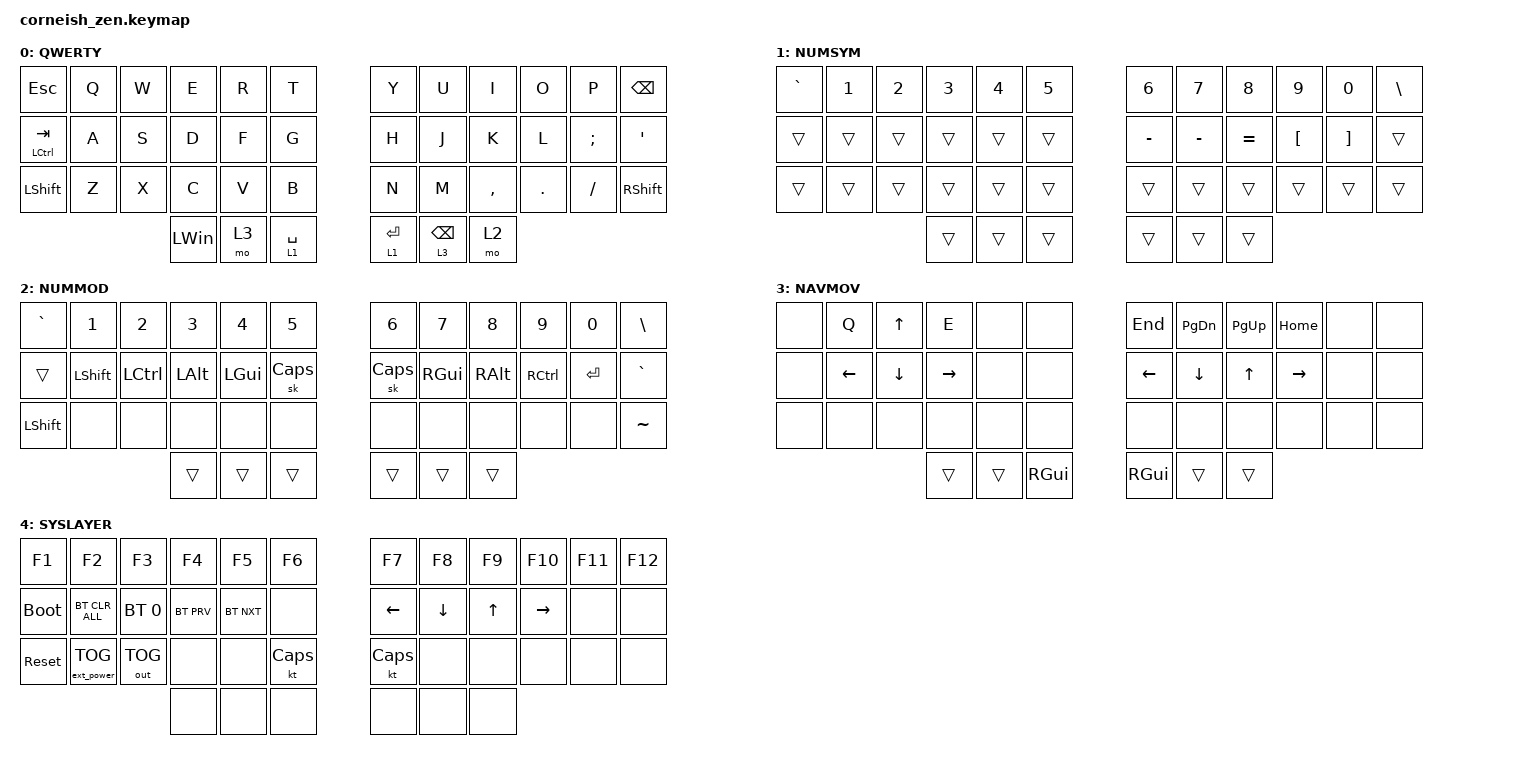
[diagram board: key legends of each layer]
#include <behaviors.dtsi>
#include <dt-bindings/zmk/bt.h>
#include <dt-bindings/zmk/ext_power.h>
#include <dt-bindings/zmk/keys.h>
#include <dt-bindings/zmk/keys.h>
#include <dt-bindings/zmk/outputs.h>

/ {
    chosen {
        zmk,matrix_transform = &default_transform;

        //zmk,matrix_transform = &five_column_transform;
    };
};

/ {
    combos {
        compatible = "zmk,combos";

        ToSyslayer {
            bindings = <&mo 4>;
            key-positions = <38 39>;
        };

        arcsearch {
            bindings = <&arcsearch>;
            key-positions = <37 38>;
        };
    };

    macros {
        arcsearch: arcsearch {
            compatible = "zmk,behavior-macro";
            #binding-cells = <0>;
            bindings = <&kp LEFT_COMMAND &kp LEFT_ALT &kp N>;
            label = "ARCSEARCH";
        };
    };

    keymap {
        compatible = "zmk,keymap";

        default_layer {
            label = "QWERTY";

            // -----------------------------------------------------------------------------------------
            // |  TAB |  Q  |  W  |  E  |  R  |  T  |   |  Y  |  U   |  I  |  O  |  P  | BKSP |
            // | CTRL |  A  |  S  |  D  |  F  |  G  |   |  H  |  J   |  K  |  L  |  ;  |  '   |
            // | SHFT |  Z  |  X  |  C  |  V  |  B  |   |  N  |  M   |  ,  |  .  |  /  | ESC  |
            //                    | GUI | LWR | SPC |   | ENT | RSE  | ALT |

            bindings = <
&kp ESCAPE     &kp Q  &kp W  &kp E         &kp R  &kp T          &kp Y        &kp U            &kp I      &kp O    &kp P     &kp BACKSPACE
&mt LCTRL TAB  &kp A  &kp S  &kp D         &kp F  &kp G          &kp H        &kp J            &kp K      &kp L    &kp SEMI  &kp SQT
&kp LSHFT      &kp Z  &kp X  &kp C         &kp V  &kp B          &kp N        &kp M            &kp COMMA  &kp DOT  &kp FSLH  &kp RIGHT_SHIFT
                             &kp LEFT_WIN  &mo 3  &lt 1 SPACE    &lt 1 ENTER  &lt 3 BACKSPACE  &mo 2
            >;
        };

        lower_layer {
            label = "NUMSYM";

            // -----------------------------------------------------------------------------------------
            // |  TAB |  1  |  2  |  3  |  4  |  5  |   |  6  |  7  |  8  |  9  |  0  | BKSP |
            // | BTCLR| BT1 | BT2 | BT3 | BT4 | BT5 |   | LFT | DWN |  UP | RGT |     |      |
            // | SHFT |     |     |     |     |     |   |     |     |     |     |     |      |
            //                    | GUI |     | SPC |   | ENT |     | ALT |

            bindings = <
&kp GRAVE  &kp N1  &kp N2  &kp N3  &kp N4  &kp N5    &kp N6     &kp N7     &kp N8     &kp N9            &kp N0             &kp BACKSLASH
&trans     &trans  &trans  &trans  &trans  &trans    &kp MINUS  &kp MINUS  &kp EQUAL  &kp LEFT_BRACKET  &kp RIGHT_BRACKET  &trans
&trans     &trans  &trans  &trans  &trans  &trans    &trans     &trans     &trans     &trans            &trans             &trans
                           &trans  &trans  &trans    &trans     &trans     &trans
            >;
        };

        raise_layer {
            label = "NUMMOD";

            // -----------------------------------------------------------------------------------------
            // |  TAB |  !  |  @  |  #  |  $  |  %  |   |  ^  |  &  |  *  |  (  |  )  | BKSP |
            // | CTRL |     |     |     |     |     |   |  -  |  =  |  [  |  ]  |  \  |  `   |
            // | SHFT |     |     |     |     |     |   |  _  |  +  |  {  |  }  | "|" |  ~   |
            //                    | GUI |     | SPC |   | ENT |     | ALT |

            bindings = <
&kp GRAVE  &kp N1     &kp N2     &kp N3    &kp N4    &kp N5      &kp N6    &kp N7    &kp N8    &kp N9     &kp N0   &kp BSLH
&trans     &kp LSHFT  &kp LCTRL  &kp LALT  &kp LGUI  &sk CLCK    &sk CLCK  &kp RGUI  &kp RALT  &kp RCTRL  &kp RET  &kp GRAVE
&kp LSHFT  &none      &none      &none     &none     &none       &none     &none     &none     &none      &none    &kp TILDE
                                 &trans    &trans    &trans      &trans    &trans    &trans
            >;
        };

        layer_3 {
            bindings = <
&none  &kp Q           &kp UP    &kp E      &none   &none            &kp END        &kp PAGE_DOWN  &kp PAGE_UP  &kp HOME   &none  &none
&none  &kp LEFT_ARROW  &kp DOWN  &kp RIGHT  &none   &none            &kp LEFT       &kp DOWN       &kp UP       &kp RIGHT  &none  &none
&none  &none           &none     &none      &none   &none            &none          &none          &none        &none      &none  &none
                                 &trans     &trans  &kp RIGHT_GUI    &kp RIGHT_GUI  &trans         &trans
            >;

            label = "NAVMOV";
        };

        layer_4 {
            label = "SYSLAYER";
            bindings = <
&kp F1       &kp F2             &kp F3        &kp F4      &kp F5      &kp F6      &kp F7        &kp F8    &kp F9  &kp F10    &kp F11  &kp F12
&bootloader  &bt BT_CLR_ALL     &bt BT_SEL 0  &bt BT_PRV  &bt BT_NXT  &none       &kp LEFT      &kp DOWN  &kp UP  &kp RIGHT  &none    &none
&sys_reset   &ext_power EP_TOG  &out OUT_TOG  &none       &none       &kt CAPS    &kt CAPSLOCK  &none     &none   &none      &none    &none
                                              &none       &none       &none       &none         &none     &none
            >;
        };
    };
};
